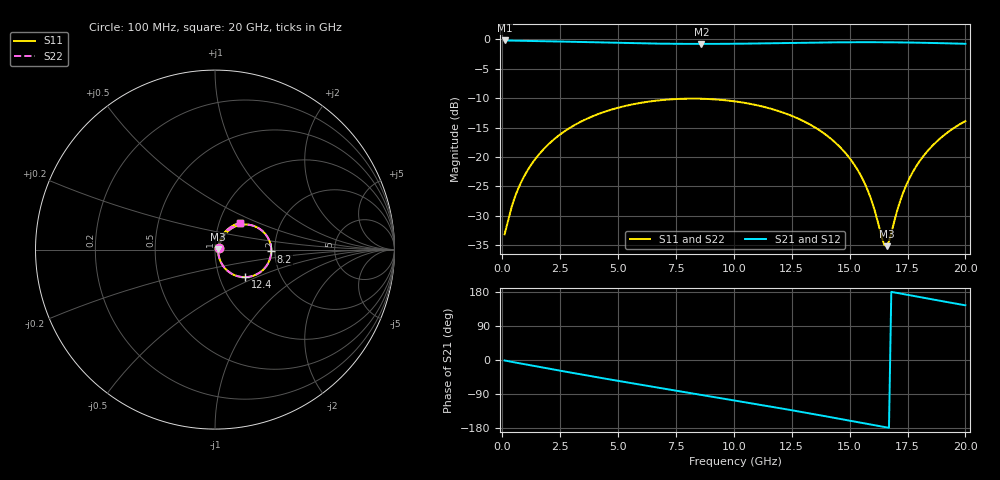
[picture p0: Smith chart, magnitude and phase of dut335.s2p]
! Touchstone file exported from HFSS 2026.1.0
!  File:  C:/ffzhzh/LocalFiles/Ansys_Project_Files/temp_train_TSV_RDL_335_1783033687_51716.aedt
!  Generated:  07:18:31 AM Jul  3, 2026
!  Design:  TSV_RDL
!  Project:  temp_train_TSV_RDL_335_1783033687_51716
! Variables:
!  h_bsmrdl = 3.35um
!  h_ox = 20um
!  h_rdl = 5um
!  h_sub = 67.25um
!  h_tmrdl = 2.01um
!  h_tsv = 67.25um
!  h_via = 3um
!  l_bsmrdl = 715.62um
!  l_sub = 3468.22um
!  l_tmrdl = 200.67um
!  m_sub = 200um
!  pitch = 32.6um
!  r_tsv = 11.76um
!  s_tmrdl = 10um
!  w_bsmrdl = 17.37um
!  w_sub = 500um
!  w_tmrdl = 22.19um
!  x_tsv_center1 = 211.765um
!  x_tsv_center2 = 944.755um
!  x_tsv_center3 = 1167.615um
!  x_tsv_center4 = 1900.605um
!  x_tsv_center5 = 2123.465um
!  x_tsv_center6 = 2856.455um
# GHz S MA R 50.000000
! Terminal data exported
! Port[1] = TM_RDL1_1_T1
! Port[2] = TM_RDL5_1_T1
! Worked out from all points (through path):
!   200 points, 100 MHz to 20 GHz, reference 50 ohm
!   highest |S21| = -0.18 dB at 100 MHz (marker M1); lowest = -0.8 dB at 8.6 GHz (marker M2)
!   group delay of S21, straight-line fit = 29.6 ps
!   lowest |S11| = -35.2 dB at 16.6 GHz (marker M3), VSWR 1.04, Z = 51.8 + j0.143 ohm
!   |S11| at or under -10 dB: start of sweep to end of sweep
!   |S22| runs from -34.9 to -10.1 dB; largest |S21 - S12| = 5.3e-14
!   S11 on the Smith chart (normalised r, x): 100 MHz: 1.04, +0.02; 8.2 GHz: 1.91, -0.04; 12.4 GHz: 1.33, -0.43; 20 GHz: 1.25, +0.39
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0.1  0.02204 19.7  0.9794 -1.2  0.9794 -1.2  0.02204 19.7
! Gamma 0 0 0 0
! Port Impedance 50 0 50 0
0.6  0.04885 52.7  0.9744 -7.0  0.9744 -7.0  0.04885 52.7
1.3  0.08901 57.4  0.9689 -14.9  0.9689 -14.9  0.08901 57.4
2.3  0.145 52.7  0.9608 -26.0  0.9608 -26.0  0.145 52.7
3.5  0.2046 42.8  0.9489 -39.1  0.9489 -39.1  0.2046 42.8
5.1  0.2655 27.8  0.9327 -56.1  0.9327 -56.1  0.2655 27.8
6.8  0.3036 11.5  0.92 -73.7  0.92 -73.7  0.3037 11.5
8.2  0.3136 -1.9  0.9155 -87.9  0.9155 -87.9  0.3137 -1.9
8.6  0.3129 -5.8  0.9153 -92.0  0.9153 -92.0  0.3129 -5.8
10.1  0.2961 -20.2  0.9185 -107.3  0.9185 -107.3  0.2962 -20.2
12.4  0.228 -42.4  0.9319 -131.5  0.9319 -131.5  0.2281 -42.3
13.4  0.1836 -51.8  0.9384 -142.3  0.9384 -142.3  0.1836 -51.7
14.5  0.1262 -61.0  0.944 -154.4  0.944 -154.4  0.1262 -60.8
15.3  0.08034 -65.0  0.9462 -163.3  0.9462 -163.3  0.08042 -64.8
15.8  0.05107 -63.1  0.9465 -169.0  0.9465 -169.0  0.0512 -62.6
16.4  0.02038 -31.1  0.9457 -175.7  0.9457 -175.7  0.02076 -30.4
16.6  0.01745 4.5  0.9452 -178.0  0.9452 -178.0  0.01792 4.4
16.7  0.01918 22.5  0.9449 -179.1  0.9449 -179.1  0.01961 21.9
17.3  0.04901 60.0  0.9422 174.2  0.9422 174.2  0.04921 59.5
17.9  0.08478 62.5  0.9382 167.4  0.9382 167.4  0.08492 62.1
18.8  0.1376 57.4  0.9303 157.4  0.9303 157.4  0.1377 57.1
20  0.2021 47.1  0.9172 144.3  0.9172 144.3  0.2022 46.9
